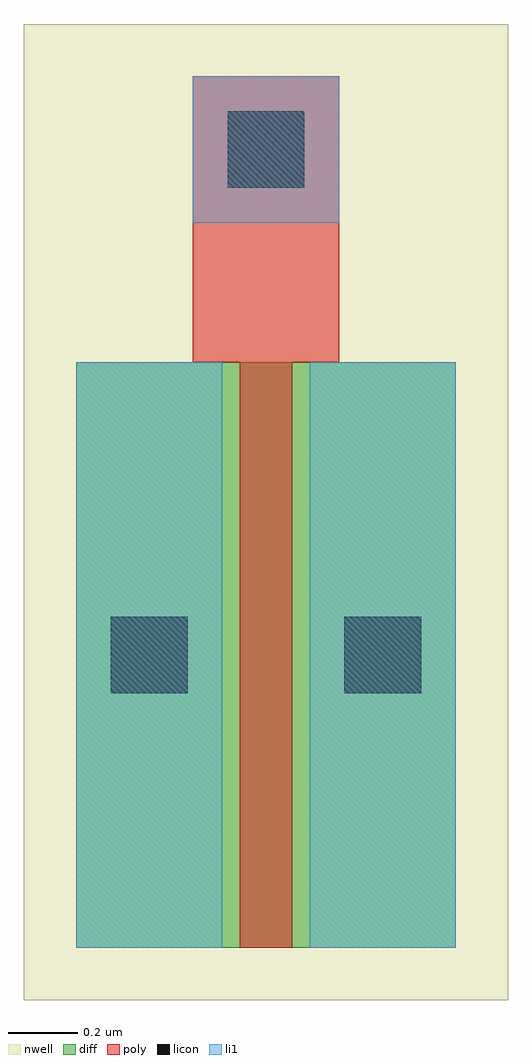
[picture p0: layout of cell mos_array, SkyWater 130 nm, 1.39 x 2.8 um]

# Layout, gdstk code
import gdstk
lib = gdstk.Library(unit=1e-6, precision=1e-09)
def R(c, l, rs):  # rectangles x0, y0, x1, y1
    for r in rs: c.add(gdstk.rectangle(r[:2], r[2:], *l))
nwell = (64, 20)
diff = (65, 20)
poly = (66, 20)
licon = (66, 44)
li1 = (67, 20)

mos_array = lib.new_cell('mos_array')
R(mos_array, nwell, [(-0.15,-0.15,1.24,2.65)])
R(mos_array, diff, [(0,0,1.09,1.68)])
R(mos_array, poly, [(0.47,0,0.62,1.68), (0.335,1.68,0.755,2.5)])
R(mos_array, licon, [(0.1,0.73,0.32,0.95), (0.77,0.73,0.99,0.95), (0.435,2.18,0.655,2.4)])
R(mos_array, li1, [(0,0,0.42,1.68), (0.67,0,1.09,1.68), (0.335,2.08,0.755,2.5)])

lib.write_gds('mos_array.gds')
